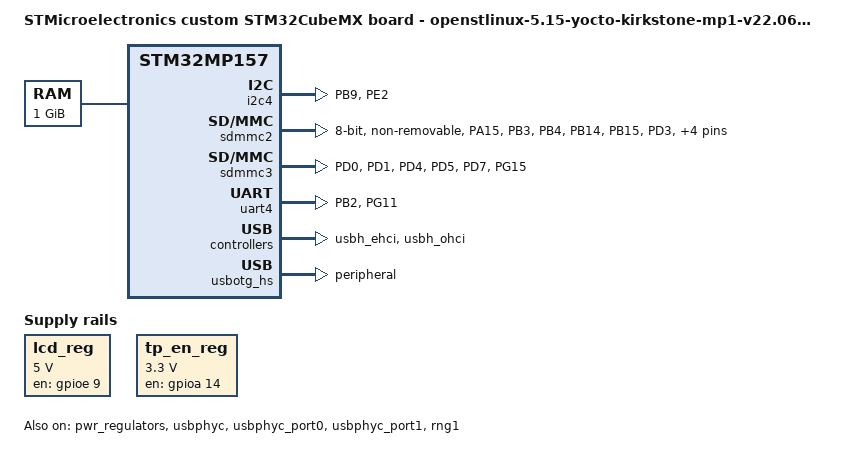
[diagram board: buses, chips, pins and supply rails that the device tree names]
/* SPDX-License-Identifier: (GPL-2.0+ OR BSD-3-Clause) */
/*
 * Copyright (C) STMicroelectronics 2021 - All Rights Reserved
 * Author: STM32CubeMX code generation for STMicroelectronics.
 */

/* For more information on Device Tree configuration, please refer to
 * https://wiki.st.com/stm32mpu/wiki/Category:Device_tree_configuration
 */

/dts-v1/;
#include <dt-bindings/pinctrl/stm32-pinfunc.h>

#include "stm32mp157.dtsi"
#include "stm32mp15xa.dtsi"
#include "stm32mp15xxad-pinctrl.dtsi"
#include "stm32mp15-m4-srm.dtsi"

/* USER CODE BEGIN includes */
/* USER CODE END includes */

/ {
	model = "STMicroelectronics custom STM32CubeMX board - openstlinux-5.15-yocto-kirkstone-mp1-v22.06.15";
	compatible = "st,stm32mp157a-right_cost_display-mx", "st,stm32mp157";

	memory@c0000000 {
		device_type = "memory";
		/* SL: Currently set to maximum supported 8Gb (1GiB) programmatically modified in tf-a & u-boot */
		reg = <0xc0000000 0x40000000>;

		/* USER CODE BEGIN memory */
		/* USER CODE END memory */
	};

	reserved-memory {
		#address-cells = <1>;
		#size-cells = <1>;
		ranges;

		/* USER CODE BEGIN reserved-memory */
		/* USER CODE END reserved-memory */
	};

	/* USER CODE BEGIN root */	
	lcd_reg: lcd_reg {
		compatible = "regulator-fixed";
		regulator-name = "lcd_reg";
		regulator-min-microvolt = <5000000>;
		regulator-max-microvolt = <5000000>;
		gpio = <&gpioe 9 GPIO_ACTIVE_HIGH>;
		enable-active-high;
		regulator-boot-on;		/* Turn on immediately */
	};
	
	// bl_pwm_en_reg {
	// 	compatible = "regulator-fixed";
	// 	regulator-name = "bl_pwm_en_reg";
	// 	regulator-min-microvolt = <5000000>;
	// 	regulator-max-microvolt = <5000000>;
	// 	gpio = <&gpiod 14 GPIO_ACTIVE_HIGH>;
	// 	enable-active-high;
	// 	regulator-boot-on;		/* Turn on immediately */
	// };
	
	tp_en_reg {
		compatible = "regulator-fixed";
		regulator-name = "tp_en_reg";
		regulator-min-microvolt = <3300000>;
		regulator-max-microvolt = <3300000>;
		gpio = <&gpioa 14 GPIO_ACTIVE_HIGH>;
		enable-active-high;			
		regulator-boot-on;		/* Turn on immediately */
	};

	// removed for optimization purposes: no splash needed on uboot
	/*
	panel_backlight: panel_backlight {
		compatible = "gpio-backlight";
		gpios = <&gpiod 14 GPIO_ACTIVE_HIGH>;
		default-on; // turn on at boot/probe time
	};

	panel {
		compatible = "simple-panel";
		power-supply = <&lcd_reg>;
		backlight = <&panel_backlight>;
		//enable-gpios = <&gpioe 12 GPIO_ACTIVE_HIGH>;
		//reset-gpios = <&gpioe 11 GPIO_ACTIVE_HIGH>;
		status = "okay";	
		
		
		port@0 {
			reg = <0>;
			panel_in: endpoint {
				remote-endpoint = <&ltdc_ep0_out>;
			};
		};

		display-timings { 
			native-mode = <&timing0>;
			timing0: timing0 {
				clock-frequency = <33300000>;
				hactive = <800>;
				vactive = <480>;
				hfront-porch = <210>;
				hback-porch = <46>;
				hsync-len = <46>;
				vback-porch = <23>;
				vfront-porch = <22>;
				vsync-len = <23>;
				hsync-active = <1>;
				vsync-active = <1>;
				de-active = <0>;
				pixelclk-active = <1>;

			};
		};
	};
	*/

	/* USER CODE END root */

	clocks {
		/* USER CODE BEGIN clocks */
		/* USER CODE END clocks */

#ifndef CONFIG_TFABOOT
		clk_lsi: clk-lsi {
			clock-frequency = <32000>;
		};
		clk_hsi: clk-hsi {
			clock-frequency = <64000000>;
		};
		clk_csi: clk-csi {
			clock-frequency = <4000000>;
		};
		clk_lse: clk-lse {
			status = "disabled";
		};
		clk_hse: clk-hse {
			clock-frequency = <24000000>;
		};
#endif	/*CONFIG_TFABOOT*/
	};

}; /*root*/

&pinctrl {
	u-boot,dm-pre-reloc;

	// removed for optimization purposes: not needed on uboot
	/*
	adc_pins_mx: adc_mx-0 {
		pins {
			pinmux = <STM32_PINMUX('A', 0, ANALOG)>, /* ADC1_INP16 *//*
					 <STM32_PINMUX('B', 1, ANALOG)>, /* ADC1_INP5 *//*
					 <STM32_PINMUX('C', 2, ANALOG)>, /* ADC1_INP12 *//*
					 <STM32_PINMUX('C', 3, ANALOG)>; /* ADC1_INP13 *//*
		};
	};

	adc_sleep_pins_mx: adc_sleep_mx-0 {
		pins {
			pinmux = <STM32_PINMUX('A', 0, ANALOG)>, /* ADC1_INP16 *//*
					 <STM32_PINMUX('B', 1, ANALOG)>, /* ADC1_INP5 *//*
					 <STM32_PINMUX('C', 2, ANALOG)>, /* ADC1_INP12 *//*
					 <STM32_PINMUX('C', 3, ANALOG)>; /* ADC1_INP13 *//*
		};
	};

	eth1_pins_mx: eth1_mx-0 {
		pins1 {
			pinmux = <STM32_PINMUX('A', 1, AF11)>, /* ETH1_REF_CLK *//*
					 <STM32_PINMUX('B', 12, AF11)>, /* ETH1_TXD0 *//*
					 <STM32_PINMUX('C', 1, AF11)>, /* ETH1_MDC *//*
					 <STM32_PINMUX('G', 14, AF11)>; /* ETH1_TXD1 *//*
			bias-disable;
			drive-push-pull;
			slew-rate = <0>;
		};
		pins2 {
			pinmux = <STM32_PINMUX('A', 2, AF11)>; /* ETH1_MDIO *//*
			bias-disable;
			drive-push-pull;
			slew-rate = <0>;
		};
		pins3 {
			pinmux = <STM32_PINMUX('A', 7, AF11)>, /* ETH1_CRS_DV *//*
					 <STM32_PINMUX('C', 4, AF11)>, /* ETH1_RXD0 *//*
					 <STM32_PINMUX('C', 5, AF11)>, /* ETH1_RXD1 *//*
					 <STM32_PINMUX('G', 12, AF11)>; /* ETH1_PHY_INTN *//*
			bias-disable;
		};
		pins4 {
			pinmux = <STM32_PINMUX('B', 11, AF11)>; /* ETH1_TX_EN *//*
		};
	};

	eth1_sleep_pins_mx: eth1_sleep_mx-0 {
		pins {
			pinmux = <STM32_PINMUX('A', 1, ANALOG)>, /* ETH1_REF_CLK *//*
					 <STM32_PINMUX('A', 2, ANALOG)>, /* ETH1_MDIO *//*
					 <STM32_PINMUX('A', 7, ANALOG)>, /* ETH1_CRS_DV *//*
					 <STM32_PINMUX('B', 11, ANALOG)>, /* ETH1_TX_EN *//*
					 <STM32_PINMUX('B', 12, ANALOG)>, /* ETH1_TXD0 *//*
					 <STM32_PINMUX('C', 1, ANALOG)>, /* ETH1_MDC *//*
					 <STM32_PINMUX('C', 4, ANALOG)>, /* ETH1_RXD0 *//*
					 <STM32_PINMUX('C', 5, ANALOG)>, /* ETH1_RXD1 *//*
					 <STM32_PINMUX('G', 12, ANALOG)>, /* ETH1_PHY_INTN *//*
					 <STM32_PINMUX('G', 14, ANALOG)>; /* ETH1_TXD1 *//*
		};
	};

	fdcan1_pins_mx: fdcan1_mx-0 {
		pins1 {
			pinmux = <STM32_PINMUX('A', 11, AF9)>; /* FDCAN1_RX *//*
			bias-disable;
		};
		pins2 {
			pinmux = <STM32_PINMUX('A', 12, AF9)>; /* FDCAN1_TX *//*
			bias-disable;
			drive-push-pull;
			slew-rate = <0>;
		};
	};

	fdcan1_sleep_pins_mx: fdcan1_sleep_mx-0 {
		pins {
			pinmux = <STM32_PINMUX('A', 11, ANALOG)>, /* FDCAN1_RX *//*
					 <STM32_PINMUX('A', 12, ANALOG)>; /* FDCAN1_TX *//*
		};
	};

	fdcan2_pins_mx: fdcan2_mx-0 {
		pins1 {
			pinmux = <STM32_PINMUX('B', 13, AF9)>; /* FDCAN2_TX *//*
			bias-disable;
			drive-push-pull;
			slew-rate = <0>;
		};
		pins2 {
			pinmux = <STM32_PINMUX('B', 5, AF9)>; /* FDCAN2_RX *//*
			bias-disable;
		};
	};

	fdcan2_sleep_pins_mx: fdcan2_sleep_mx-0 {
		pins {
			pinmux = <STM32_PINMUX('B', 5, ANALOG)>, /* FDCAN2_RX *//*
					 <STM32_PINMUX('B', 13, ANALOG)>; /* FDCAN2_TX *//*
		};
	};
	*/

	i2c4_pins_mx: i2c4_mx-0 {
		u-boot,dm-pre-reloc;
		pins {
			u-boot,dm-pre-reloc;
			pinmux = <STM32_PINMUX('B', 9, AF6)>, /* I2C4_SDA */
					 <STM32_PINMUX('E', 2, AF4)>; /* I2C4_SCL */
			bias-disable;
			drive-open-drain;
			slew-rate = <0>;
		};
	};

	i2c4_sleep_pins_mx: i2c4_sleep_mx-0 {
		u-boot,dm-pre-reloc;
		pins {
			u-boot,dm-pre-reloc;
			pinmux = <STM32_PINMUX('B', 9, ANALOG)>, /* I2C4_SDA */
					 <STM32_PINMUX('E', 2, ANALOG)>; /* I2C4_SCL */
		};
	};

	// removed for optimization purposes: not needed on uboot
	/*
	ltdc_pins_mx: ltdc_mx-0 {
		pins1 {
			pinmux = <STM32_PINMUX('A', 3, AF14)>, /* LTDC_B5 *//*
					 <STM32_PINMUX('A', 4, AF14)>, /* LTDC_VSYNC *//*
					 <STM32_PINMUX('A', 5, AF14)>, /* LTDC_R4 *//*
					 <STM32_PINMUX('A', 6, AF14)>, /* LTDC_G2 *//*
					 <STM32_PINMUX('A', 8, AF14)>, /* LTDC_R6 *//*
					 <STM32_PINMUX('A', 10, AF14)>, /* LTDC_B1 *//*
					 <STM32_PINMUX('B', 0, AF9)>, /* LTDC_R3 *//*
					 <STM32_PINMUX('B', 8, AF14)>, /* LTDC_B6 *//*
					 <STM32_PINMUX('B', 10, AF14)>, /* LTDC_G4 *//*
					 <STM32_PINMUX('C', 0, AF14)>, /* LTDC_R5 *//*
					 <STM32_PINMUX('C', 6, AF14)>, /* LTDC_HSYNC *//*
					 <STM32_PINMUX('C', 7, AF14)>, /* LTDC_G6 *//*
					 <STM32_PINMUX('C', 9, AF14)>, /* LTDC_B2 *//*
					 <STM32_PINMUX('C', 10, AF14)>, /* LTDC_R2 *//*
					 <STM32_PINMUX('D', 8, AF14)>, /* LTDC_B7 *//*
					 <STM32_PINMUX('D', 9, AF14)>, /* LTDC_B0 *//*
					 <STM32_PINMUX('D', 10, AF14)>, /* LTDC_B3 *//*
					 <STM32_PINMUX('D', 15, AF14)>, /* LTDC_R1 *//*
					 <STM32_PINMUX('E', 6, AF14)>, /* LTDC_G1 *//*
					 <STM32_PINMUX('E', 11, AF14)>, /* LTDC_G3 *//*
					 <STM32_PINMUX('E', 12, AF14)>, /* LTDC_B4 *//*
					 <STM32_PINMUX('E', 13, AF14)>, /* LTDC_DE *//*
					 <STM32_PINMUX('E', 14, AF13)>, /* LTDC_G0 *//*
					 <STM32_PINMUX('E', 15, AF14)>, /* LTDC_R7 *//*
					 <STM32_PINMUX('F', 11, AF14)>, /* LTDC_G5 *//*
					 <STM32_PINMUX('G', 8, AF14)>, /* LTDC_G7 *//*
					 <STM32_PINMUX('G', 13, AF14)>; /* LTDC_R0 *//*
			bias-disable;
			drive-push-pull;
			slew-rate = <0>;
		};
		pins2 {
			pinmux = <STM32_PINMUX('G', 7, AF14)>; /* LTDC_CLK *//*
			bias-disable;
			drive-push-pull;
			slew-rate = <0>;
		};
	};

	ltdc_sleep_pins_mx: ltdc_sleep_mx-0 {
		pins {
			pinmux = <STM32_PINMUX('A', 3, ANALOG)>, /* LTDC_B5 *//*
					 <STM32_PINMUX('A', 4, ANALOG)>, /* LTDC_VSYNC *//*
					 <STM32_PINMUX('A', 5, ANALOG)>, /* LTDC_R4 *//*
					 <STM32_PINMUX('A', 6, ANALOG)>, /* LTDC_G2 *//*
					 <STM32_PINMUX('A', 8, ANALOG)>, /* LTDC_R6 *//*
					 <STM32_PINMUX('A', 10, ANALOG)>, /* LTDC_B1 *//*
					 <STM32_PINMUX('B', 0, ANALOG)>, /* LTDC_R3 *//*
					 <STM32_PINMUX('B', 8, ANALOG)>, /* LTDC_B6 *//*
					 <STM32_PINMUX('B', 10, ANALOG)>, /* LTDC_G4 *//*
					 <STM32_PINMUX('C', 0, ANALOG)>, /* LTDC_R5 *//*
					 <STM32_PINMUX('C', 6, ANALOG)>, /* LTDC_HSYNC *//*
					 <STM32_PINMUX('C', 7, ANALOG)>, /* LTDC_G6 *//*
					 <STM32_PINMUX('C', 9, ANALOG)>, /* LTDC_B2 *//*
					 <STM32_PINMUX('C', 10, ANALOG)>, /* LTDC_R2 *//*
					 <STM32_PINMUX('D', 8, ANALOG)>, /* LTDC_B7 *//*
					 <STM32_PINMUX('D', 9, ANALOG)>, /* LTDC_B0 *//*
					 <STM32_PINMUX('D', 10, ANALOG)>, /* LTDC_B3 *//*
					 <STM32_PINMUX('D', 15, ANALOG)>, /* LTDC_R1 *//*
					 <STM32_PINMUX('E', 6, ANALOG)>, /* LTDC_G1 *//*
					 <STM32_PINMUX('E', 11, ANALOG)>, /* LTDC_G3 *//*
					 <STM32_PINMUX('E', 12, ANALOG)>, /* LTDC_B4 *//*
					 <STM32_PINMUX('E', 13, ANALOG)>, /* LTDC_DE *//*
					 <STM32_PINMUX('E', 14, ANALOG)>, /* LTDC_G0 *//*
					 <STM32_PINMUX('E', 15, ANALOG)>, /* LTDC_R7 *//*
					 <STM32_PINMUX('F', 11, ANALOG)>, /* LTDC_G5 *//*
					 <STM32_PINMUX('G', 7, ANALOG)>, /* LTDC_CLK *//*
					 <STM32_PINMUX('G', 8, ANALOG)>, /* LTDC_G7 *//*
					 <STM32_PINMUX('G', 13, ANALOG)>; /* LTDC_R0 *//*
		};
	};

	sai1a_pins_mx: sai1a_mx-0 {
		pins {
			pinmux = <STM32_PINMUX('D', 6, AF6)>; /* SAI1_SD_A *//*
			bias-disable;
			drive-push-pull;
			slew-rate = <0>;
		};
	};

	sai1a_sleep_pins_mx: sai1a_sleep_mx-0 {
		pins {
			pinmux = <STM32_PINMUX('D', 6, ANALOG)>; /* SAI1_SD_A *//*
		};
	};

	sai1b_pins_mx: sai1b_mx-0 {
		pins {
			pinmux = <STM32_PINMUX('F', 6, AF6)>, /* SAI1_SD_B *//*
					 <STM32_PINMUX('F', 7, AF6)>, /* SAI1_MCLK_B *//*
					 <STM32_PINMUX('F', 8, AF6)>, /* SAI1_SCK_B *//*
					 <STM32_PINMUX('F', 9, AF6)>; /* SAI1_FS_B *//*
			bias-disable;
			drive-push-pull;
			slew-rate = <0>;
		};
	};

	sai1b_sleep_pins_mx: sai1b_sleep_mx-0 {
		pins {
			pinmux = <STM32_PINMUX('F', 6, ANALOG)>, /* SAI1_SD_B *//*
					 <STM32_PINMUX('F', 7, ANALOG)>, /* SAI1_MCLK_B *//*
					 <STM32_PINMUX('F', 8, ANALOG)>, /* SAI1_SCK_B *//*
					 <STM32_PINMUX('F', 9, ANALOG)>; /* SAI1_FS_B *//*
		};
	};

	sai2a_pins_mx: sai2a_mx-0 {
		pins {
			pinmux = <STM32_PINMUX('D', 11, AF10)>, /* SAI2_SD_A *//*
					 <STM32_PINMUX('D', 12, AF10)>, /* SAI2_FS_A *//*
					 <STM32_PINMUX('D', 13, AF10)>, /* SAI2_SCK_A *//*
					 <STM32_PINMUX('E', 0, AF10)>; /* SAI2_MCLK_A *//*
			bias-disable;
			drive-push-pull;
			slew-rate = <0>;
		};
	};

	sai2a_sleep_pins_mx: sai2a_sleep_mx-0 {
		pins {
			pinmux = <STM32_PINMUX('D', 11, ANALOG)>, /* SAI2_SD_A *//*
					 <STM32_PINMUX('D', 12, ANALOG)>, /* SAI2_FS_A *//*
					 <STM32_PINMUX('D', 13, ANALOG)>, /* SAI2_SCK_A *//*
					 <STM32_PINMUX('E', 0, ANALOG)>; /* SAI2_MCLK_A *//*
		};
	};

	sai2b_pins_mx: sai2b_mx-0 {
		pins {
			pinmux = <STM32_PINMUX('G', 9, AF10)>, /* SAI2_FS_B *//*
					 <STM32_PINMUX('G', 10, AF10)>; /* SAI2_SD_B *//*
			bias-disable;
			drive-push-pull;
			slew-rate = <0>;
		};
	};

	sai2b_sleep_pins_mx: sai2b_sleep_mx-0 {
		pins {
			pinmux = <STM32_PINMUX('G', 9, ANALOG)>, /* SAI2_FS_B *//*
					 <STM32_PINMUX('G', 10, ANALOG)>; /* SAI2_SD_B *//*
		};
	};
	*/

	sdmmc2_pins_mx: sdmmc2_mx-0 {
		u-boot,dm-pre-reloc;
		pins1 {
			u-boot,dm-pre-reloc;
			pinmux = <STM32_PINMUX('A', 15, AF9)>, /* SDMMC2_D5 */
					 <STM32_PINMUX('B', 3, AF9)>, /* SDMMC2_D2 */
					 <STM32_PINMUX('B', 4, AF9)>, /* SDMMC2_D3 */
					 <STM32_PINMUX('B', 14, AF9)>, /* SDMMC2_D0 */
					 <STM32_PINMUX('B', 15, AF9)>, /* SDMMC2_D1 */
					 <STM32_PINMUX('D', 3, AF9)>, /* SDMMC2_D7 */
					 <STM32_PINMUX('E', 4, AF9)>, /* SDMMC2_D4 */
					 <STM32_PINMUX('E', 5, AF9)>, /* SDMMC2_D6 */
					 <STM32_PINMUX('G', 6, AF10)>; /* SDMMC2_CMD */
			bias-pull-up;
			drive-push-pull;
			slew-rate = <1>;
		};
		pins2 {
			u-boot,dm-pre-reloc;
			pinmux = <STM32_PINMUX('E', 3, AF9)>; /* SDMMC2_CK */
			bias-pull-up;
			drive-push-pull;
			slew-rate = <1>;
		};
	};

	sdmmc2_opendrain_pins_mx: sdmmc2_opendrain_mx-0 {
		u-boot,dm-pre-reloc;
		pins1 {
			u-boot,dm-pre-reloc;
			pinmux = <STM32_PINMUX('A', 15, AF9)>, /* SDMMC2_D5 */
					 <STM32_PINMUX('B', 3, AF9)>, /* SDMMC2_D2 */
					 <STM32_PINMUX('B', 4, AF9)>, /* SDMMC2_D3 */
					 <STM32_PINMUX('B', 14, AF9)>, /* SDMMC2_D0 */
					 <STM32_PINMUX('B', 15, AF9)>, /* SDMMC2_D1 */
					 <STM32_PINMUX('D', 3, AF9)>, /* SDMMC2_D7 */
					 <STM32_PINMUX('E', 4, AF9)>, /* SDMMC2_D4 */
					 <STM32_PINMUX('E', 5, AF9)>; /* SDMMC2_D6 */
			bias-disable;
			drive-push-pull;
			slew-rate = <1>;
		};
		pins2 {
			u-boot,dm-pre-reloc;
			pinmux = <STM32_PINMUX('E', 3, AF9)>; /* SDMMC2_CK */
			bias-disable;
			drive-push-pull;
			slew-rate = <1>;
		};
		pins3 {
			u-boot,dm-pre-reloc;
			pinmux = <STM32_PINMUX('G', 6, AF10)>; /* SDMMC2_CMD */
			bias-disable;
			drive-open-drain;
			slew-rate = <1>;
		};
	};

	sdmmc2_sleep_pins_mx: sdmmc2_sleep_mx-0 {
		u-boot,dm-pre-reloc;
		pins {
			u-boot,dm-pre-reloc;
			pinmux = <STM32_PINMUX('A', 15, ANALOG)>, /* SDMMC2_D5 */
					 <STM32_PINMUX('B', 3, ANALOG)>, /* SDMMC2_D2 */
					 <STM32_PINMUX('B', 4, ANALOG)>, /* SDMMC2_D3 */
					 <STM32_PINMUX('B', 14, ANALOG)>, /* SDMMC2_D0 */
					 <STM32_PINMUX('B', 15, ANALOG)>, /* SDMMC2_D1 */
					 <STM32_PINMUX('D', 3, ANALOG)>, /* SDMMC2_D7 */
					 <STM32_PINMUX('E', 3, ANALOG)>, /* SDMMC2_CK */
					 <STM32_PINMUX('E', 4, ANALOG)>, /* SDMMC2_D4 */
					 <STM32_PINMUX('E', 5, ANALOG)>, /* SDMMC2_D6 */
					 <STM32_PINMUX('G', 6, ANALOG)>; /* SDMMC2_CMD */
		};
	};

	sdmmc3_pins_mx: sdmmc3_mx-0 {
		pins1 {
			pinmux = <STM32_PINMUX('D', 0, AF10)>, /* SDMMC3_CMD */
					 <STM32_PINMUX('D', 1, AF10)>, /* SDMMC3_D0 */
					 <STM32_PINMUX('D', 4, AF10)>, /* SDMMC3_D1 */
					 <STM32_PINMUX('D', 5, AF10)>, /* SDMMC3_D2 */
					 <STM32_PINMUX('D', 7, AF10)>; /* SDMMC3_D3 */
			bias-pull-up;
			drive-push-pull;
			slew-rate = <0>;
		};
		pins2 {
			pinmux = <STM32_PINMUX('G', 15, AF10)>; /* SDMMC3_CK */
			bias-pull-up;
			drive-push-pull;
			slew-rate = <0>;
		};
	};

	sdmmc3_opendrain_pins_mx: sdmmc3_opendrain_mx-0 {
		pins1 {
			pinmux = <STM32_PINMUX('D', 0, AF10)>; /* SDMMC3_CMD */
			bias-disable;
			drive-open-drain;
			slew-rate = <0>;
		};
		pins2 {
			pinmux = <STM32_PINMUX('D', 1, AF10)>, /* SDMMC3_D0 */
					 <STM32_PINMUX('D', 4, AF10)>, /* SDMMC3_D1 */
					 <STM32_PINMUX('D', 5, AF10)>, /* SDMMC3_D2 */
					 <STM32_PINMUX('D', 7, AF10)>; /* SDMMC3_D3 */
			bias-disable;
			drive-push-pull;
			slew-rate = <0>;
		};
		pins3 {
			pinmux = <STM32_PINMUX('G', 15, AF10)>; /* SDMMC3_CK */
			bias-disable;
			drive-push-pull;
			slew-rate = <0>;
		};
	};

	sdmmc3_sleep_pins_mx: sdmmc3_sleep_mx-0 {
		pins {
			pinmux = <STM32_PINMUX('D', 0, ANALOG)>, /* SDMMC3_CMD */
					 <STM32_PINMUX('D', 1, ANALOG)>, /* SDMMC3_D0 */
					 <STM32_PINMUX('D', 4, ANALOG)>, /* SDMMC3_D1 */
					 <STM32_PINMUX('D', 5, ANALOG)>, /* SDMMC3_D2 */
					 <STM32_PINMUX('D', 7, ANALOG)>, /* SDMMC3_D3 */
					 <STM32_PINMUX('G', 15, ANALOG)>; /* SDMMC3_CK */
		};
	};

	// removed for optimization purposes: not needed on uboot
	/*
	tim4_pwm_pins_mx: tim4_pwm_mx-0 {
		pins {
			pinmux = <STM32_PINMUX('B', 6, AF2)>, /* TIM4_CH1 *//*
					 <STM32_PINMUX('D', 14, AF2)>; /* TIM4_CH3 *//*
			bias-disable;
			drive-push-pull;
			slew-rate = <0>;
		};
	};

	tim4_pwm_sleep_pins_mx: tim4_pwm_sleep_mx-0 {
		pins {
			pinmux = <STM32_PINMUX('B', 6, ANALOG)>, /* TIM4_CH1 *//*
					 <STM32_PINMUX('D', 14, ANALOG)>; /* TIM4_CH3 *//*
		};
	};
	*/

	uart4_pins_mx: uart4_mx-0 {
		u-boot,dm-pre-reloc;
		pins1 {
			u-boot,dm-pre-reloc;
			pinmux = <STM32_PINMUX('B', 2, AF8)>; /* UART4_RX */
			bias-pull-up;
		};
		pins2 {
			u-boot,dm-pre-reloc;
			pinmux = <STM32_PINMUX('G', 11, AF6)>; /* UART4_TX */
			bias-pull-up;
			drive-push-pull;
			slew-rate = <0>;
		};
	};

	uart4_sleep_pins_mx: uart4_sleep_mx-0 {
		u-boot,dm-pre-reloc;
		pins {
			u-boot,dm-pre-reloc;
			pinmux = <STM32_PINMUX('B', 2, ANALOG)>, /* UART4_RX */
					 <STM32_PINMUX('G', 11, ANALOG)>; /* UART4_TX */
		};
	};

	// removed for optimization purposes: not needed on uboot
	/*
	uart5_pins_mx: uart5_mx-0 {
		pins1 {
			pinmux = <STM32_PINMUX('C', 8, AF8)>, /* UART5_DE *//*
					 <STM32_PINMUX('C', 12, AF8)>; /* UART5_TX *//*
			bias-disable;
			drive-push-pull;
			slew-rate = <0>;
		};
		pins2 {
			pinmux = <STM32_PINMUX('D', 2, AF8)>; /* UART5_RX *//*
			bias-disable;
		};
	};

	uart5_sleep_pins_mx: uart5_sleep_mx-0 {
		pins {
			pinmux = <STM32_PINMUX('C', 8, ANALOG)>, /* UART5_DE *//*
					 <STM32_PINMUX('C', 12, ANALOG)>, /* UART5_TX *//*
					 <STM32_PINMUX('D', 2, ANALOG)>; /* UART5_RX *//*
		};
	};

	usart1_pins_mx: usart1_mx-0 {
		u-boot,dm-pre-reloc;
		pins1 {
			u-boot,dm-pre-reloc;
			pinmux = <STM32_PINMUX('A', 9, AF7)>; /* USART1_TX *//*
			bias-disable;
			drive-push-pull;
			slew-rate = <0>;
		};
		pins2 {
			u-boot,dm-pre-reloc;
			pinmux = <STM32_PINMUX('B', 7, AF7)>; /* USART1_RX *//*
			bias-disable;
		};
	};

	usart1_sleep_pins_mx: usart1_sleep_mx-0 {
		u-boot,dm-pre-reloc;
		pins {
			u-boot,dm-pre-reloc;
			pinmux = <STM32_PINMUX('A', 9, ANALOG)>, /* USART1_TX *//*
					 <STM32_PINMUX('B', 7, ANALOG)>; /* USART1_RX *//*
		};
	};
	*/
	/* USER CODE BEGIN pinctrl */
	/* USER CODE END pinctrl */
};

&pinctrl_z {
	u-boot,dm-pre-reloc;

	/* USER CODE BEGIN pinctrl_z */
	/* USER CODE END pinctrl_z */
};

// removed for optimization purposes: not needed on uboot
/*
&m4_rproc{
	/*Restriction: "memory-region" property is not managed - please to use User-Section if needed*//*
	mboxes = <&ipcc 2>;
	mbox-names = "shutdown";
	status = "okay";

	/* USER CODE BEGIN m4_rproc *//*
	/* USER CODE END m4_rproc *//*

	m4_system_resources{
		status = "okay";

		/* USER CODE BEGIN m4_system_resources *//*
		/* USER CODE END m4_system_resources *//*
	};
};

&adc{
	pinctrl-names = "default", "sleep";
	pinctrl-0 = <&adc_pins_mx>;
	pinctrl-1 = <&adc_sleep_pins_mx>;
	status = "okay";

	/* USER CODE BEGIN adc *//*
	/* USER CODE END adc *//*
};

&bsec{
	status = "okay";

	/* USER CODE BEGIN bsec *//*
	/* USER CODE END bsec *//*
};

&dma1{
	status = "okay";

	/* USER CODE BEGIN dma1 *//*
	/* USER CODE END dma1 *//*
};

&dma2{
	status = "disabled";

	/* USER CODE BEGIN dma2 *//*
	/* USER CODE END dma2 *//*
};

&dmamux1{

	dma-masters = <&dma1>;
	dma-channels = <8>;

	status = "okay";

	/* USER CODE BEGIN dmamux1 *//*
	/* USER CODE END dmamux1 *//*
};

&dts{
	status = "okay";

	/* USER CODE BEGIN dts *//*
	/* USER CODE END dts *//*
};

&ethernet0{
	pinctrl-names = "default", "sleep";
	pinctrl-0 = <&eth1_pins_mx>;
	pinctrl-1 = <&eth1_sleep_pins_mx>;
	status = "disabled";

	/* USER CODE BEGIN ethernet0 *//*
	/* USER CODE END ethernet0 *//*
};

&gpu{
	status = "okay";

	/* USER CODE BEGIN gpu *//*
	/* USER CODE END gpu *//*
};

&hsem{
	status = "okay";

	/* USER CODE BEGIN hsem *//*
	/* USER CODE END hsem *//*
};
*/

&i2c4{
	u-boot,dm-pre-reloc;
	pinctrl-names = "default", "sleep";
	pinctrl-0 = <&i2c4_pins_mx>;
	pinctrl-1 = <&i2c4_sleep_pins_mx>;
	status = "okay";

	/* USER CODE BEGIN i2c4 */
	/* USER CODE END i2c4 */
};

// removed for optimization purposes: not needed on uboot
/*
&ipcc{
	status = "okay";

	/* USER CODE BEGIN ipcc *//*
	/* USER CODE END ipcc *//*
};

&iwdg2{
	status = "disabled";

	/* USER CODE BEGIN iwdg2 *//*
	/* USER CODE END iwdg2 *//*
};

&dsi {
	status = "disabled";
};

&ltdc {

	status = "okay";	
	pinctrl-names = "default", "sleep";
	pinctrl-0 = <&ltdc_pins_mx>;
	pinctrl-1 = <&ltdc_sleep_pins_mx>;
	
	/* USER CODE BEGIN ltdc *//*
	u-boot,dm-pre-reloc;

	port {
		#address-cells = <1>;
		#size-cells = <0>;

		ltdc_ep0_out: endpoint@0 {
			reg = <0>;
			remote-endpoint = <&panel_in>;
		};
	};
	/* USER CODE END ltdc *//*
};

&m_can1{
	pinctrl-names = "default", "sleep";
	pinctrl-0 = <&fdcan1_pins_mx>;
	pinctrl-1 = <&fdcan1_sleep_pins_mx>;
	status = "okay";

	/* USER CODE BEGIN m_can1 *//*
	/* USER CODE END m_can1 *//*
};

&m_can2{
	pinctrl-names = "default", "sleep";
	pinctrl-0 = <&fdcan2_pins_mx>;
	pinctrl-1 = <&fdcan2_sleep_pins_mx>;
	status = "okay";

	/* USER CODE BEGIN m_can2 *//*
	/* USER CODE END m_can2 *//*
};

&m4_dma2{
	status = "okay";

	/* USER CODE BEGIN m4_dma2 *//*
	/* USER CODE END m4_dma2 *//*
};

&mdma1{
	status = "okay";

	/* USER CODE BEGIN mdma1 *//*
	/* USER CODE END mdma1 *//*
};
*/

&pwr_regulators{
	status = "okay";

	/* USER CODE BEGIN pwr_regulators */
	/* USER CODE END pwr_regulators */
};

&rcc{
	u-boot,dm-pre-reloc;
	status = "okay";

	/* USER CODE BEGIN rcc */
	/* USER CODE END rcc */
};

// removed for optimization purposes: not needed on uboot
/*
&rtc{
	status = "okay";

	/* USER CODE BEGIN rtc *//*
	/* USER CODE END rtc *//*
};

&sai1{
	pinctrl-names = "default", "sleep";
	pinctrl-0 = <&sai1a_pins_mx>, <&sai1b_pins_mx>;
	pinctrl-1 = <&sai1a_sleep_pins_mx>, <&sai1b_sleep_pins_mx>;
	status = "okay";

	/* USER CODE BEGIN sai1 *//*
	/* USER CODE END sai1 *//*

	sai1a:audio-controller@4400a004{
		status = "okay";

		/* USER CODE BEGIN sai1a *//*
		/* USER CODE END sai1a *//*
	};

	sai1b:audio-controller@4400a024{
		status = "okay";

		/* USER CODE BEGIN sai1b *//*
		/* USER CODE END sai1b *//*
	};
};

&sai2{
	pinctrl-names = "default", "sleep";
	pinctrl-0 = <&sai2a_pins_mx>, <&sai2b_pins_mx>;
	pinctrl-1 = <&sai2a_sleep_pins_mx>, <&sai2b_sleep_pins_mx>;
	status = "okay";

	/* USER CODE BEGIN sai2 *//*
	/* USER CODE END sai2 *//*

	sai2a:audio-controller@4400b004{
		status = "okay";

		/* USER CODE BEGIN sai2a *//*
		/* USER CODE END sai2a *//*
	};

	sai2b:audio-controller@4400b024{
		status = "okay";

		/* USER CODE BEGIN sai2b *//*
		/* USER CODE END sai2b *//*
	};
};
*/

&sdmmc2{
	u-boot,dm-pre-reloc;
	pinctrl-names = "default", "opendrain", "sleep";
	pinctrl-0 = <&sdmmc2_pins_mx>;
	pinctrl-1 = <&sdmmc2_opendrain_pins_mx>;
	pinctrl-2 = <&sdmmc2_sleep_pins_mx>;
	status = "okay";

	/* USER CODE BEGIN sdmmc2 */
	non-removable;
	bus-width = <8>;
	/* USER CODE END sdmmc2 */
};

&sdmmc3{
	pinctrl-names = "default", "opendrain", "sleep";
	pinctrl-0 = <&sdmmc3_pins_mx>;
	pinctrl-1 = <&sdmmc3_opendrain_pins_mx>;
	pinctrl-2 = <&sdmmc3_sleep_pins_mx>;
	status = "okay";

	/* USER CODE BEGIN sdmmc3 */
	/* USER CODE END sdmmc3 */
};

// removed for optimization purposes: not needed on uboot
/*
&tamp{
	status = "okay";

	/* USER CODE BEGIN tamp *//*
	/* USER CODE END tamp *//*
};

&timers4{
	status = "okay";

	/* USER CODE BEGIN timers4 *//*
	/* USER CODE END timers4 *//*

	pwm{
		pinctrl-names = "default", "sleep";
		pinctrl-0 = <&tim4_pwm_pins_mx>;
		pinctrl-1 = <&tim4_pwm_sleep_pins_mx>;
		status = "okay";

		/* USER CODE BEGIN timers4_pwm *//*
		/* USER CODE END timers4_pwm *//*
	};
};
*/

&uart4{
	u-boot,dm-pre-reloc;
	pinctrl-names = "default", "sleep";
	pinctrl-0 = <&uart4_pins_mx>;
	pinctrl-1 = <&uart4_sleep_pins_mx>;
	status = "okay";

	/* USER CODE BEGIN uart4 */
	/* USER CODE END uart4 */
};

// removed for optimization purposes: not needed on uboot
/*
&uart5{
	pinctrl-names = "default", "sleep";
	pinctrl-0 = <&uart5_pins_mx>;
	pinctrl-1 = <&uart5_sleep_pins_mx>;
	status = "okay";

	/* USER CODE BEGIN uart5 *//*
	/* USER CODE END uart5 *//*
};

&usart1{
	u-boot,dm-pre-reloc;
	pinctrl-names = "default", "sleep";
	pinctrl-0 = <&usart1_pins_mx>;
	pinctrl-1 = <&usart1_sleep_pins_mx>;
	status = "okay";

	/* USER CODE BEGIN usart1 *//*
	/* USER CODE END usart1 *//*
};
*/

&usbh_ehci{
	status = "okay";

	/* USER CODE BEGIN usbh_ehci */
	/* USER CODE END usbh_ehci */
};

&usbh_ohci{
	status = "okay";

	/* USER CODE BEGIN usbh_ohci */
	/* USER CODE END usbh_ohci */
};

&usbotg_hs{
	u-boot,dm-pre-reloc;
	status = "okay";

	/* USER CODE BEGIN usbotg_hs */
	u-boot,force-b-session-valid;
	hnp-srp-disable;
	dr_mode = "peripheral";
	/* USER CODE END usbotg_hs */
};

&usbphyc{
	u-boot,dm-pre-reloc;
	status = "okay";

	/* USER CODE BEGIN usbphyc */
	/* USER CODE END usbphyc */
};

&usbphyc_port0{
	u-boot,dm-pre-reloc;
	status = "okay";

	/* USER CODE BEGIN usbphyc_port0 */
	/* USER CODE END usbphyc_port0 */
};

&usbphyc_port1{
	u-boot,dm-pre-reloc;
	status = "okay";

	/* USER CODE BEGIN usbphyc_port1 */
	/* USER CODE END usbphyc_port1 */
};

/* USER CODE BEGIN addons */
&rng1{
	status = "okay";
};
/* USER CODE END addons */

